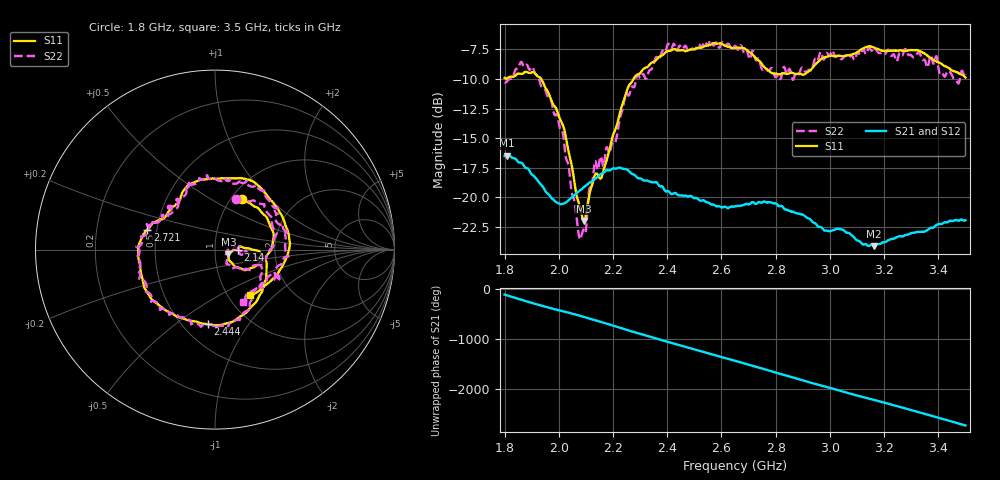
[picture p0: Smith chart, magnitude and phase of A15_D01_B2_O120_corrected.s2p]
! Created with skrf 1.9.0 (http://scikit-rf.org).
# Hz S RI R 50.0
!freq ReS11 ImS11 ReS21 ImS21 ReS12 ImS12 ReS22 ImS22
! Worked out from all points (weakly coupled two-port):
!   1601 points, 1.8 GHz to 3.5 GHz, reference 50 ohm
!   highest |S21| = -16.48 dB at 1.808 GHz (marker M1); lowest = -24.1 dB at 3.163 GHz (marker M2)
!   lowest |S11| = -22.0 dB at 2.092 GHz (marker M3), VSWR 1.17, Z = 58 - j3.14 ohm
!   |S11| at or under -10 dB: 1.935 GHz to 2.275 GHz (340 MHz wide, 16.2 % of centre)
!   |S22| runs from -23.5 to -6.7 dB; largest |S21 - S12| = 0.003
!   S11 on the Smith chart (normalised r, x): 1.8 GHz: 1.12, +0.70; 2.14 GHz: 1.29, -0.00; 2.444 GHz: 0.66, -0.66; 2.721 GHz: 0.44, +0.12; 3.5 GHz: 1.26, -0.72
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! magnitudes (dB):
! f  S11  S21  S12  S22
! 1.8 GHz  -9.9  -16.5  -16.5  -10.3
! 1.808 GHz  -10.0  -16.5  -16.5  -10.2
! 1.865 GHz  -9.6  -17.1  -17.2  -8.7
! 1.913 GHz  -9.5  -18.3  -18.3  -9.6
! 1.968 GHz  -11.5  -19.9  -19.9  -11.7
! 2.019 GHz  -14.2  -20.5  -20.5  -15.2
! 2.072 GHz  -20.3  -19.5  -19.5  -22.9
! 2.084 GHz  -21.4  -19.3  -19.3  -23.2
! 2.092 GHz  -22.0  -19.1  -19.2  -22.8
! 2.14 GHz  -18.0  -18.3  -18.3  -17.4
! 2.16 GHz  -18.1  -18.0  -17.9  -17.1
! 2.208 GHz  -14.3  -17.6  -17.5  -15.3
! 2.258 GHz  -10.6  -17.7  -17.8  -11.4
! 2.367 GHz  -8.2  -18.9  -18.9  -8.3
! 2.444 GHz  -7.6  -19.8  -19.8  -7.2
! 2.65 GHz  -7.4  -20.8  -20.7  -7.2
! 2.721 GHz  -8.1  -20.5  -20.4  -8.0
! 2.812 GHz  -9.6  -20.7  -20.6  -9.8
! 2.934 GHz  -9.1  -22.0  -22.0  -9.2
! 3.163 GHz  -7.4  -24.1  -24.1  -7.4
! 3.217 GHz  -7.6  -23.6  -23.6  -7.6
! 3.5 GHz  -9.9  -21.9  -21.9  -9.6
